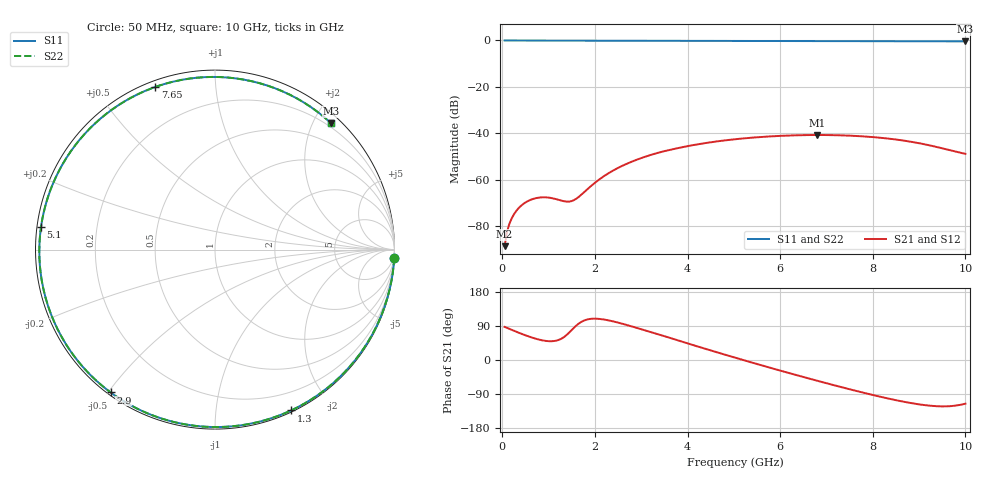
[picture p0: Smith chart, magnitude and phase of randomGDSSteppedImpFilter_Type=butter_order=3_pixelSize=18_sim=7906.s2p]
! freq	dB(S11)	phase(S11)	dB(S12)	phase(S12)
!  dB(S21)	phase(S21)	dB(S22)	phase(S22)
!S-par simulation data
#  GHz  S  DB  R 50
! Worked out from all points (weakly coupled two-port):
!   200 points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, 50 MHz to 10 GHz, reference 50 ohm
!   highest |S21| = -40.77 dB at 6.8 GHz (marker M1); lowest = -88.7 dB at 50 MHz (marker M2)
!   lowest |S11| = -0.4 dB at 10 GHz (marker M3), VSWR 44.34, Z = 6.96 + j113 ohm
!   |S11| at or under -10 dB: nowhere
!   |S22| runs from -0.4 to 0.0 dB; largest |S21 - S12| = 0
!   S11 on the Smith chart (normalised r, x): 50 MHz: 0, -43; 1.3 GHz: 0.02, -1.58; 2.9 GHz: 0.01, -0.51; 5.1 GHz: 0.01, +0.06; 7.65 GHz: 0.03, +0.70; 10 GHz: 0.14, +2.27
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0.05  -0.00 -2.6  -88.72 87.4  -88.72 87.4  -0.00 -2.6
0.15  -0.01 -7.9  -79.27 82.3  -79.27 82.3  -0.01 -7.9
0.25  -0.02 -13.1  -75.01 77.2  -75.01 77.2  -0.02 -13.1
0.35  -0.03 -18.3  -72.37 72.2  -72.37 72.2  -0.03 -18.3
0.6  -0.04 -31.1  -68.83 60.8  -68.83 60.8  -0.04 -31.1
0.9  -0.06 -45.9  -67.64 51.1  -67.64 51.1  -0.06 -45.9
1.3  -0.08 -64.7  -69.19 57.9  -69.19 57.9  -0.08 -64.7
1.5  -0.08 -73.6  -69.26 79.2  -69.26 79.2  -0.08 -73.6
1.75  -0.09 -84.1  -65.75 103.3  -65.75 103.3  -0.09 -84.1
2.25  -0.11 -103.7  -57.80 105.7  -57.80 105.7  -0.11 -103.7
2.9  -0.13 -126.2  -51.46 84.9  -51.46 84.9  -0.13 -126.2
3.4  -0.14 -141.7  -48.25 66.5  -48.25 66.5  -0.14 -141.7
4.2  -0.16 -164.2  -44.86 36.4  -44.86 36.4  -0.16 -164.2
5.05  -0.19 173.9  -42.55 5.3  -42.55 5.3  -0.19 173.9
5.1  -0.20 172.7  -42.45 3.6  -42.45 3.6  -0.20 172.7
5.9  -0.23 153.0  -41.25 -24.5  -41.25 -24.5  -0.23 153.0
6.7  -0.27 133.6  -40.78 -51.5  -40.78 -51.5  -0.27 133.6
6.8  -0.27 131.2  -40.77 -54.8  -40.77 -54.8  -0.27 131.2
7.65  -0.31 110.1  -41.20 -81.8  -41.20 -81.8  -0.31 110.1
8.35  -0.33 92.2  -42.35 -102.1  -42.35 -102.1  -0.33 92.2
9.15  -0.36 70.9  -44.91 -119.5  -44.91 -119.5  -0.36 71.0
10  -0.39 47.4  -48.88 -115.3  -48.88 -115.3  -0.39 47.4
